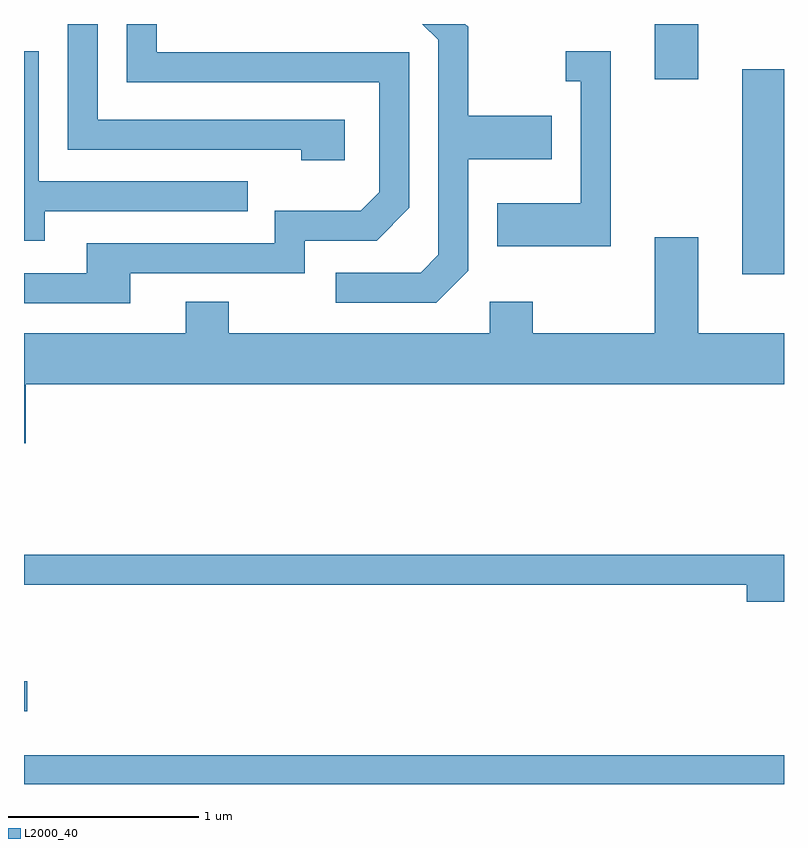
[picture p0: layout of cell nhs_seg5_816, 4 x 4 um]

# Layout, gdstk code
import gdstk
lib = gdstk.Library(unit=1e-6, precision=1e-09)
def R(c, l, rs):  # rectangles x0, y0, x1, y1
    for r in rs: c.add(gdstk.rectangle(r[:2], r[2:], *l))
def P(c, l, *ps):  # polygons
    for p in ps: c.add(gdstk.Polygon(p, *l))
L2000_40 = (2000, 40)

nhs_seg5_816 = lib.new_cell('nhs_seg5_816')
R(nhs_seg5_816, L2000_40, [(209.611,1408.072,213.611,1408.224), (209.611,1408.456,209.628,1408.614), (213.391,1410.756,213.611,1411.834), (212.931,1411.781,213.159,1412.072)])
P(nhs_seg5_816, L2000_40, [(211.949,1410.774),(211.949,1411.361),(212.389,1411.361),(212.389,1411.589),(211.949,1411.589),(211.949,1412.057),(211.934,1412.072),(211.708,1412.072),(211.791,1411.989),(211.791,1410.857),(211.699,1410.764),(211.253,1410.764),(211.253,1410.606),(211.782,1410.606)],
  [(211.299,1411.569),(209.999,1411.569),(209.999,1412.072),(209.841,1412.072),(209.841,1411.411),(211.071,1411.411),(211.071,1411.356),(211.299,1411.356)],
  [(210.169,1410.761),(211.089,1410.761),(211.089,1410.931),(211.467,1410.931),(211.639,1411.104),(211.639,1411.924),(210.309,1411.924),(210.309,1412.072),(210.151,1412.072),(210.151,1411.766),(211.481,1411.766),(211.481,1411.187),(211.384,1411.089),(210.931,1411.089),(210.931,1410.919),(209.941,1410.919),(209.941,1410.759),(209.611,1410.759),(209.611,1410.601),(210.169,1410.601)],
  [(212.699,1411.929),(212.463,1411.929),(212.463,1411.771),(212.541,1411.771),(212.541,1411.129),(212.101,1411.129),(212.101,1410.901),(212.699,1410.901)],
  [(209.719,1411.086),(210.788,1411.086),(210.788,1411.244),(209.689,1411.244),(209.689,1411.929),(209.611,1411.929),(209.611,1410.931),(209.719,1410.931)],
  [(209.619,1410.176),(213.611,1410.176),(213.611,1410.444),(213.159,1410.444),(213.159,1410.949),(212.931,1410.949),(212.931,1410.444),(212.289,1410.444),(212.289,1410.609),(212.061,1410.609),(212.061,1410.444),(210.689,1410.444),(210.689,1410.609),(210.461,1410.609),(210.461,1410.444),(209.611,1410.444),(209.611,1409.866),(209.619,1409.866)],
  [(213.611,1409.279),(209.611,1409.279),(209.611,1409.121),(213.416,1409.121),(213.416,1409.031),(213.611,1409.031)])

lib.write_gds('nhs_seg5_816.gds')
